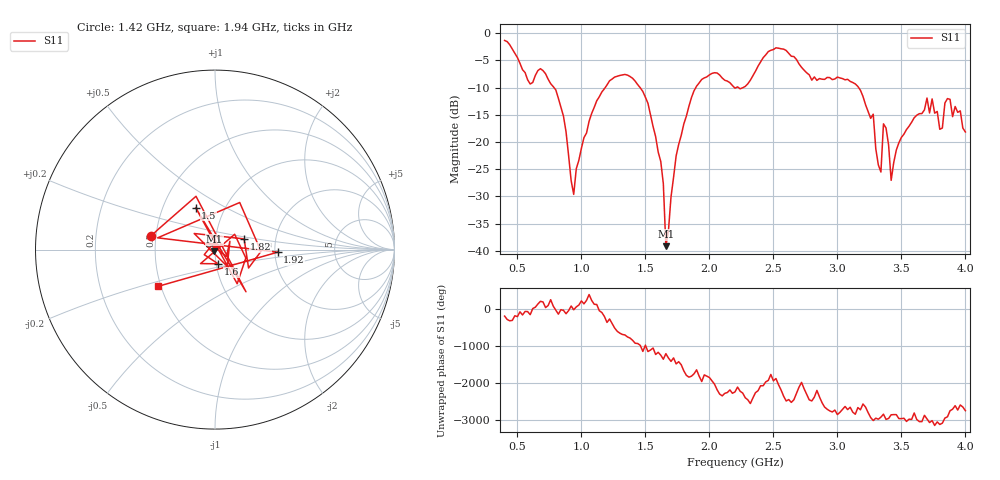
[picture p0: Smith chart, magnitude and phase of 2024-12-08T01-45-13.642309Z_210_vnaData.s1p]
!Created with skrf (http://scikit-rf.org).
# Hz S RI R 50.0
!freq ReS11 ImS11
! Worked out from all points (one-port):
!   181 points, 400 MHz to 4 GHz, reference 50 ohm
!   lowest |S11| = -39.1 dB at 1.66 GHz (marker M1), VSWR 1.02, Z = 49.5 - j0.996 ohm
!   |S11| at or under -10 dB: 786.4 MHz to 1.185 GHz (399.1 MHz wide, 40.5 % of centre); 1.459 GHz to 1.893 GHz (434.3 MHz wide, 25.9 % of centre); 3.166 GHz to end of sweep (the widest 3 of 5)
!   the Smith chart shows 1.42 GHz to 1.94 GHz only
!   S11 on the Smith chart (normalised r, x): 1.42 GHz: 0.47, +0.08; 1.5 GHz: 0.73, +0.37; 1.6 GHz: 1.02, -0.16; 1.82 GHz: 1.38, +0.17; 1.92 GHz: 2.07, -0.07; 1.94 GHz: 0.48, -0.23
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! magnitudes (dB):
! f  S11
! 400 MHz  -1.3
! 720 MHz  -7.4
! 860 MHz  -15.2
! 940 MHz  -29.6
! 1.08 GHz  -14.8
! 1.3 GHz  -7.8
! 1.42 GHz  -8.8
! 1.5 GHz  -11.8
! 1.6 GHz  -21.8
! 1.64 GHz  -27.6
! 1.66 GHz  -39.1
! 1.76 GHz  -20.4
! 1.82 GHz  -15.2
! 1.92 GHz  -9.1
! 1.94 GHz  -8.5
! 2.2 GHz  -10.1
! 2.66 GHz  -4.3
! 3.1 GHz  -8.8
! 3.28 GHz  -14.9
! 3.34 GHz  -25.5
! 3.36 GHz  -16.7
! 3.38 GHz  -17.4
! 3.42 GHz  -27.0
! 3.56 GHz  -17.1
! 3.7 GHz  -11.9
! 3.82 GHz  -17.4
! 3.86 GHz  -12.0
! 4 GHz  -18.1
